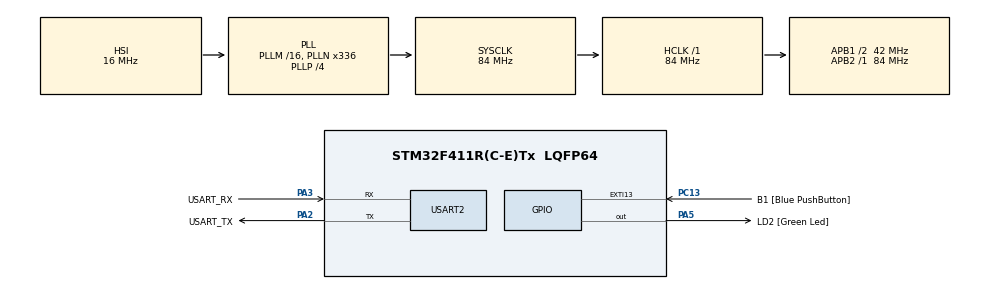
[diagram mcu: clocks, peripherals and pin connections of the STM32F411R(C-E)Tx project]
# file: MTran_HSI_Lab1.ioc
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Mcu.Family=STM32F4
Mcu.Name=STM32F411R(C-E)Tx
Mcu.Package=LQFP64
NVIC.PriorityGroup=NVIC_PRIORITYGROUP_0
PA13.GPIO_Label=TMS
PA13.Mode=Serial_Wire
PA13.Signal=SYS_JTMS-SWDIO
PA14.GPIO_Label=TCK
PA14.Mode=Serial_Wire
PA14.Signal=SYS_JTCK-SWCLK
PA2.GPIO_Label=USART_TX
PA2.Mode=Asynchronous
PA2.Signal=USART2_TX
PA3.GPIO_Label=USART_RX
PA3.Mode=Asynchronous
PA3.Signal=USART2_RX
PA5.GPIO_Label=LD2 [Green Led]
PA5.Signal=GPIO_Output
PB3.GPIO_Label=SWO
PB3.Signal=SYS_JTDO-SWO
PC13-ANTI_TAMP.GPIO_Label=B1 [Blue PushButton]
PC13-ANTI_TAMP.GPIO_ModeDefaultEXTI=GPIO_MODE_IT_FALLING
PC13-ANTI_TAMP.Signal=GPXTI13
PC14-OSC32_IN.Mode=LSE-External-Oscillator
PC14-OSC32_IN.Signal=RCC_OSC32_IN
PC15-OSC32_OUT.Mode=LSE-External-Oscillator
PC15-OSC32_OUT.Signal=RCC_OSC32_OUT
PH0\ -\ OSC_IN.Mode=HSE-External-Clock-Source
PH0\ -\ OSC_IN.Signal=RCC_OSC_IN
PH1\ -\ OSC_OUT.Mode=HSE-External-Clock-Source
PH1\ -\ OSC_OUT.Signal=RCC_OSC_OUT
ProjectManager.HeapSize=0x200
ProjectManager.StackSize=0x400
ProjectManager.TargetToolchain=STM32CubeIDE
RCC.48MHZClocksFreq_Value=84000000
RCC.AHBFreq_Value=84000000
RCC.APB1CLKDivider=RCC_HCLK_DIV2
RCC.APB1Freq_Value=42000000
RCC.APB1TimFreq_Value=84000000
RCC.APB2Freq_Value=84000000
RCC.APB2TimFreq_Value=84000000
RCC.CortexFreq_Value=84000000
RCC.FLatency-AdvancedSettings=FLASH_LATENCY_2
RCC.HCLKFreq_Value=84000000
RCC.HSE_VALUE=8000000
RCC.HSI_VALUE=16000000
RCC.PLLN=336
RCC.PLLP=RCC_PLLP_DIV4
RCC.SYSCLKFreq_VALUE=84000000
RCC.SYSCLKSource=RCC_SYSCLKSOURCE_PLLCLK
RCC.VCOOutputFreq_Value=336000000
USART2.VirtualMode=VM_ASYNC
board=NUCLEO-F411RE

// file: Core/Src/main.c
/* USER CODE BEGIN Header */
/**
  ******************************************************************************
  * @file           : main.c
  * @brief          : Main program body
  ******************************************************************************
  * @attention
  *
  * Copyright (c) 2024 STMicroelectronics.
  * All rights reserved.
  *
  * This software is licensed under terms that can be found in the LICENSE file
  * in the root directory of this software component.
  * If no LICENSE file comes with this software, it is provided AS-IS.
  *
  ******************************************************************************
  */

/*
* FILE : main.c
* PROJECT : Hello World - Lab 1
* PROGRAMMER : Minh Quan Tran
* FIRST VERSION : 2024-09 - 11
* DESCRIPTION : This file is the main code file to print Hello World
*/
/* USER CODE END Header */
#include "main.h"
#include "stdio.h"
#include "string.h"

UART_HandleTypeDef huart2;

void SystemClock_Config(void);
static void MX_GPIO_Init(void);
static void MX_USART2_UART_Init(void);

/* USER CODE BEGIN 0 */

/* FUNCTION : printPattern
*
* DESCRIPTION : This function is used to print a pattern from userName into a pattern as follow:
* exp: "Tony" it will print a -> b -> ... -> T
* Ta -> Tb -> ... To -> ... -> Tony
*
* PARAMETERS : char *str : String that want to print
*
* RETURNS : void
*/
void printPattern(char *str)
{
	char myStr[20];

    // Get the length of the input string
    int length = strlen(str);

    // Loop through each character in the string
    for (int i = 0; i < length; i++)
    {
        // Loop through all characters (from space (ASCII 32) to 'z' (ASCII 122))
        for (char j = ' '; j < 'z'; j++)
        {
            // Loop all character until reach the same character
            if (j <= str[i])
            {
                // If it the first letter
                if (i == 0)
                {
                    printf("%c\r\n", j);
                }

                // Print the pattern
                else
                {
                    printf("%.*s%c\r\n", i, myStr, j);
                }
                HAL_Delay(10);
            }
            else
            {
                // Store the character to myStr
                myStr[i] = j - 1;
                break;
            }
        }
    }
}

/* USER CODE END 0 */

int main(void)
{

  /* USER CODE BEGIN 1 */
	char userName[10] = {};
	char userOutput[20] = "Hello ";
  /* USER CODE END 1 */

  /* MCU Configuration--------------------------------------------------------*/

  /* Reset of all peripherals, Initializes the Flash interface and the Systick. */
  HAL_Init();

  /* Configure the system clock */
  SystemClock_Config();

  /* Initialize all configured peripherals */
  MX_GPIO_Init();
  MX_USART2_UART_Init();

  /* Infinite loop */
  while (1)
  {
	scanf("%s",userName);
	strcat(userOutput,userName); // combine string to make "Hello <name>"
	printPattern(userOutput);
	printf("~~~~~~~~~~~~~~~~~~\r\n");

	// Reset for next loop
	strcpy(userOutput,"Hello ");
  }
}

void SystemClock_Config(void)
{
  RCC_OscInitTypeDef RCC_OscInitStruct = {0};
  RCC_ClkInitTypeDef RCC_ClkInitStruct = {0};

  /** Configure the main internal regulator output voltage
  */
  __HAL_RCC_PWR_CLK_ENABLE();
  __HAL_PWR_VOLTAGESCALING_CONFIG(PWR_REGULATOR_VOLTAGE_SCALE1);

  /** Initializes the RCC Oscillators according to the specified parameters
  * in the RCC_OscInitTypeDef structure.
  */
  RCC_OscInitStruct.OscillatorType = RCC_OSCILLATORTYPE_HSI;
  RCC_OscInitStruct.HSIState = RCC_HSI_ON;
  RCC_OscInitStruct.HSICalibrationValue = RCC_HSICALIBRATION_DEFAULT;
  RCC_OscInitStruct.PLL.PLLState = RCC_PLL_ON;
  RCC_OscInitStruct.PLL.PLLSource = RCC_PLLSOURCE_HSI;
  RCC_OscInitStruct.PLL.PLLM = 16;
  RCC_OscInitStruct.PLL.PLLN = 336;
  RCC_OscInitStruct.PLL.PLLP = RCC_PLLP_DIV4;
  RCC_OscInitStruct.PLL.PLLQ = 4;
  if (HAL_RCC_OscConfig(&RCC_OscInitStruct) != HAL_OK)
  {
    Error_Handler();
  }

  /** Initializes the CPU, AHB and APB buses clocks
  */
  RCC_ClkInitStruct.ClockType = RCC_CLOCKTYPE_HCLK|RCC_CLOCKTYPE_SYSCLK
                              |RCC_CLOCKTYPE_PCLK1|RCC_CLOCKTYPE_PCLK2;
  RCC_ClkInitStruct.SYSCLKSource = RCC_SYSCLKSOURCE_PLLCLK;
  RCC_ClkInitStruct.AHBCLKDivider = RCC_SYSCLK_DIV1;
  RCC_ClkInitStruct.APB1CLKDivider = RCC_HCLK_DIV2;
  RCC_ClkInitStruct.APB2CLKDivider = RCC_HCLK_DIV1;

  if (HAL_RCC_ClockConfig(&RCC_ClkInitStruct, FLASH_LATENCY_2) != HAL_OK)
  {
    Error_Handler();
  }
}

static void MX_USART2_UART_Init(void)
{

  huart2.Instance = USART2;
  huart2.Init.BaudRate = 115200;
  huart2.Init.WordLength = UART_WORDLENGTH_8B;
  huart2.Init.StopBits = UART_STOPBITS_1;
  huart2.Init.Parity = UART_PARITY_NONE;
  huart2.Init.Mode = UART_MODE_TX_RX;
  huart2.Init.HwFlowCtl = UART_HWCONTROL_NONE;
  huart2.Init.OverSampling = UART_OVERSAMPLING_16;
  if (HAL_UART_Init(&huart2) != HAL_OK)
  {
    Error_Handler();
  }

}

static void MX_GPIO_Init(void)
{
  GPIO_InitTypeDef GPIO_InitStruct = {0};

  /* GPIO Ports Clock Enable */
  __HAL_RCC_GPIOC_CLK_ENABLE();
  __HAL_RCC_GPIOH_CLK_ENABLE();
  __HAL_RCC_GPIOA_CLK_ENABLE();
  __HAL_RCC_GPIOB_CLK_ENABLE();

  /*Configure GPIO pin Output Level */
  HAL_GPIO_WritePin(LD2_GPIO_Port, LD2_Pin, GPIO_PIN_RESET);

  /*Configure GPIO pin : B1_Pin */
  GPIO_InitStruct.Pin = B1_Pin;
  GPIO_InitStruct.Mode = GPIO_MODE_IT_FALLING;
  GPIO_InitStruct.Pull = GPIO_NOPULL;
  HAL_GPIO_Init(B1_GPIO_Port, &GPIO_InitStruct);

  /*Configure GPIO pin : LD2_Pin */
  GPIO_InitStruct.Pin = LD2_Pin;
  GPIO_InitStruct.Mode = GPIO_MODE_OUTPUT_PP;
  GPIO_InitStruct.Pull = GPIO_NOPULL;
  GPIO_InitStruct.Speed = GPIO_SPEED_FREQ_LOW;
  HAL_GPIO_Init(LD2_GPIO_Port, &GPIO_InitStruct);

}

void Error_Handler(void)
{
  __disable_irq();
  while (1)
  {
  }
}
